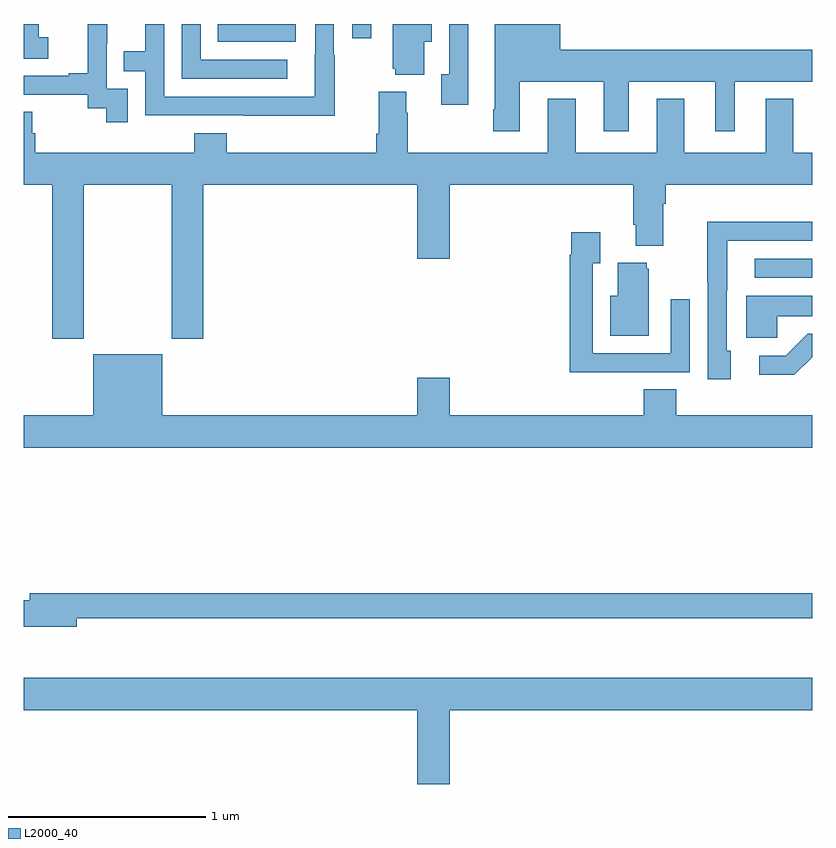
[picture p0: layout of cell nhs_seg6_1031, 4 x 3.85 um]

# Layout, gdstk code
import gdstk
lib = gdstk.Library(unit=1e-6, precision=1e-09)
def R(c, l, rs):  # rectangles x0, y0, x1, y1
    for r in rs: c.add(gdstk.rectangle(r[:2], r[2:], *l))
def P(c, l, *ps):  # polygons
    for p in ps: c.add(gdstk.Polygon(p, *l))
L2000_40 = (2000, 40)

nhs_seg6_1031 = lib.new_cell('nhs_seg6_1031')
R(nhs_seg6_1031, L2000_40, [(178.707,932.214,179,932.31), (175.984,933.41,176.38,933.5), (176.667,933.429,176.763,933.5)])
P(nhs_seg6_1031, L2000_40, [(175.126,933.433),(175.077,933.433),(175.077,933.5),(175,933.5),(175,933.324),(175.126,933.324)],
  [(175.527,933.171),(175.422,933.171),(175.422,933.401),(175.424,933.401),(175.424,933.5),(175.325,933.5),(175.325,933.25),(175.229,933.25),(175.229,933.237),(175,933.237),(175,933.141),(175.326,933.141),(175.326,933.073),(175.419,933.073),(175.419,933.003),(175.527,933.003)],
  [(176.338,933.318),(175.899,933.318),(175.899,933.5),(175.803,933.5),(175.803,933.222),(176.338,933.222)],
  [(176.577,933.341),(176.574,933.341),(176.574,933.5),(176.478,933.5),(176.478,933.344),(176.477,933.344),(176.477,933.132),(175.713,933.132),(175.713,933.5),(175.617,933.5),(175.617,933.362),(175.507,933.362),(175.507,933.261),(175.617,933.261),(175.617,933.036),(176.113,933.036),(176.113,933.035),(176.577,933.035)],
  [(177.517,933.206),(177.941,933.206),(177.941,932.955),(178.069,932.955),(178.069,933.206),(178.508,933.206),(178.508,932.955),(178.606,932.955),(178.606,933.206),(179,933.206),(179,933.37),(177.721,933.37),(177.721,933.5),(177.389,933.5),(177.389,933.067),(177.382,933.067),(177.382,932.955),(177.517,932.955)],
  [(177.256,933.461),(177.255,933.461),(177.255,933.5),(177.159,933.5),(177.159,933.246),(177.119,933.246),(177.119,933.09),(177.256,933.09)],
  [(177.031,933.41),(177.07,933.41),(177.07,933.5),(176.873,933.5),(176.873,933.273),(176.885,933.273),(176.885,933.242),(177.031,933.242)],
  [(178.763,933.121),(178.763,932.848),(178.351,932.848),(178.351,933.121),(178.211,933.121),(178.211,932.848),(177.799,932.848),(177.799,933.121),(177.659,933.121),(177.659,932.848),(176.949,932.848),(176.949,933.05),(176.941,933.05),(176.941,933.157),(176.801,933.157),(176.801,932.944),(176.789,932.944),(176.789,932.848),(176.03,932.848),(176.03,932.947),(175.865,932.947),(175.865,932.848),(175.058,932.848),(175.058,932.946),(175.045,932.946),(175.045,933.056),(175,933.056),(175,932.684),(175.145,932.684),(175.145,931.905),(175.305,931.905),(175.305,932.684),(175.75,932.684),(175.75,931.905),(175.91,931.905),(175.91,932.684),(176.996,932.684),(176.996,932.31),(177.16,932.31),(177.16,932.684),(178.091,932.684),(178.091,932.482),(178.103,932.482),(178.103,932.375),(178.243,932.375),(178.243,932.588),(178.256,932.588),(178.256,932.684),(179,932.684),(179,932.848),(178.903,932.848),(178.903,933.121)],
  [(178.585,931.842),(178.566,931.842),(178.566,932.149),(178.567,932.149),(178.567,932.4),(179,932.4),(179,932.496),(178.931,932.496),(178.931,932.498),(178.468,932.498),(178.468,932.191),(178.47,932.191),(178.47,931.698),(178.585,931.698)],
  [(178.061,931.734),(178.377,931.734),(178.377,932.104),(178.281,932.104),(178.281,931.83),(177.885,931.83),(177.885,932.287),(177.925,932.287),(177.925,932.443),(177.777,932.443),(177.777,932.33),(177.769,932.33),(177.769,931.733),(178.061,931.733)],
  [(178.171,932.259),(178.16,932.259),(178.16,932.29),(178.013,932.29),(178.013,932.122),(177.974,932.122),(177.974,931.919),(178.171,931.919)],
  [(178.821,932.018),(179,932.018),(179,932.122),(178.664,932.122),(178.664,931.91),(178.821,931.91)],
  [(179,931.811),(179,931.929),(178.976,931.929),(178.865,931.818),(178.731,931.818),(178.731,931.721),(178.909,931.721)],
  [(179,931.516),(178.31,931.516),(178.31,931.649),(178.145,931.649),(178.145,931.516),(177.16,931.516),(177.16,931.705),(176.996,931.705),(176.996,931.516),(175.702,931.516),(175.702,931.825),(175.352,931.825),(175.352,931.516),(175,931.516),(175,931.352),(179,931.352)],
  [(175.27,930.486),(179,930.486),(179,930.614),(175.031,930.614),(175.031,930.578),(175,930.578),(175,930.443),(175.27,930.443)],
  [(177.16,930.02),(179,930.02),(179,930.184),(175,930.184),(175,930.02),(176.996,930.02),(176.996,929.646),(177.16,929.646)])

lib.write_gds('nhs_seg6_1031.gds')
